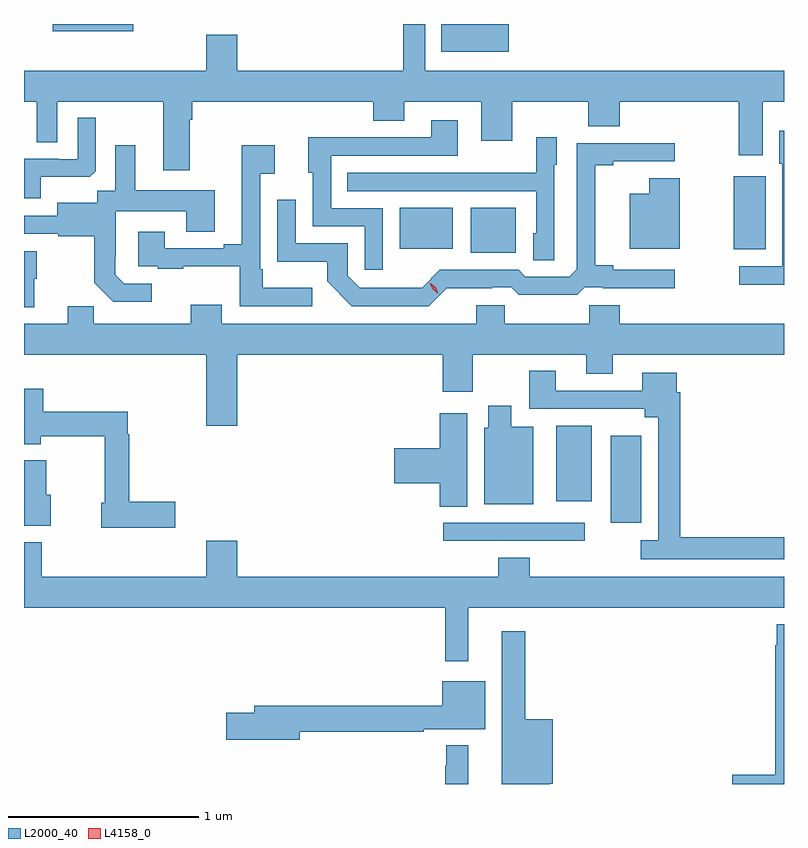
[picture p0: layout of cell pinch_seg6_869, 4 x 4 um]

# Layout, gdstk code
import gdstk
lib = gdstk.Library(unit=1e-6, precision=1e-09)
def R(c, l, rs):  # rectangles x0, y0, x1, y1
    for r in rs: c.add(gdstk.rectangle(r[:2], r[2:], *l))
def P(c, l, *ps):  # polygons
    for p in ps: c.add(gdstk.Polygon(p, *l))
L2000_40 = (2000, 40)
L4158_0 = (4158, 0)

pinch_seg6_869 = lib.new_cell('pinch_seg6_869')
R(pinch_seg6_869, L2000_40, [(226.197,939.696,226.942,939.792), (227.078,939.791,227.239,940.249), (226.79,939.905,226.978,940.303), (226.34,941.213,226.579,941.449), (227.726,941.231,227.893,941.617), (225.968,941.234,226.246,941.449), (226.186,942.272,226.54,942.417), (224.14,942.38,224.566,942.417)])
P(pinch_seg6_869, L2000_40, [(224.863,941.912),(224.876,941.912),(224.876,942.008),(225.827,942.008),(225.827,941.909),(225.991,941.909),(225.991,942.008),(226.397,942.008),(226.397,941.802),(226.561,941.802),(226.561,942.008),(226.961,942.008),(226.961,941.88),(227.125,941.88),(227.125,942.008),(227.753,942.008),(227.753,941.727),(227.878,941.727),(227.878,942.008),(227.99,942.008),(227.99,942.172),(226.101,942.172),(226.101,942.417),(225.985,942.417),(225.985,942.172),(225.112,942.172),(225.112,942.361),(224.948,942.361),(224.948,942.172),(223.99,942.172),(223.99,942.008),(224.058,942.008),(224.058,941.794),(224.166,941.794),(224.166,942.008),(224.723,942.008),(224.723,941.646),(224.863,941.646)],
  [(224.077,941.612),(224.335,941.612),(224.367,941.643),(224.367,941.923),(224.274,941.923),(224.274,941.706),(224.174,941.706),(224.174,941.709),(223.99,941.709),(223.99,941.499),(224.077,941.499)],
  [(225.879,941.448),(225.606,941.448),(225.606,941.724),(226.273,941.724),(226.273,941.911),(226.133,941.911),(226.133,941.82),(225.703,941.82),(225.703,941.822),(225.485,941.822),(225.485,941.634),(225.51,941.634),(225.51,941.352),(225.783,941.352),(225.783,941.124),(225.879,941.124)],
  [(227.99,941.854),(227.966,941.854),(227.966,941.682),(227.982,941.682),(227.982,941.142),(227.754,941.142),(227.754,941.045),(227.99,941.045)],
  [(226.782,941.676),(226.795,941.676),(226.795,941.821),(226.686,941.821),(226.686,941.635),(226.369,941.635),(226.369,941.634),(225.691,941.634),(225.691,941.538),(226.686,941.538),(226.686,941.316),(226.67,941.316),(226.67,941.173),(226.782,941.173)],
  [(226.214,941.027),(226.454,941.027),(226.454,941.031),(226.554,941.031),(226.594,940.992),(226.901,940.992),(226.941,941.031),(227.035,941.031),(227.035,941.027),(227.416,941.027),(227.416,941.124),(227.092,941.124),(227.092,941.147),(226.997,941.147),(226.997,941.674),(227.092,941.674),(227.092,941.694),(227.416,941.694),(227.416,941.79),(226.899,941.79),(226.899,941.127),(226.86,941.088),(226.629,941.088),(226.593,941.124),(226.179,941.124),(226.085,941.03),(225.98,941.03),(225.98,941.028),(225.756,941.028),(225.693,941.091),(225.693,941.262),(225.42,941.262),(225.42,941.491),(225.324,941.491),(225.324,941.165),(225.586,941.165),(225.586,941.063),(225.716,940.932),(226.119,940.932)],
  [(225.508,941.029),(225.247,941.029),(225.247,941.125),(225.234,941.125),(225.234,941.63),(225.31,941.63),(225.31,941.779),(225.137,941.779),(225.137,941.257),(225.041,941.257),(225.041,941.238),(224.731,941.238),(224.731,941.323),(224.591,941.323),(224.591,941.142),(224.695,941.142),(224.695,941.13),(224.827,941.13),(224.827,941.141),(225.126,941.141),(225.126,940.932),(225.508,940.932)],
  [(224.662,941.049),(224.517,941.049),(224.47,941.096),(224.47,941.191),(224.472,941.191),(224.472,941.432),(224.843,941.432),(224.843,941.323),(224.995,941.323),(224.995,941.542),(224.575,941.542),(224.575,941.779),(224.471,941.779),(224.471,941.54),(224.376,941.54),(224.376,941.476),(224.165,941.476),(224.165,941.409),(223.99,941.409),(223.99,941.313),(224.169,941.313),(224.169,941.301),(224.361,941.301),(224.361,941.055),(224.461,940.955),(224.662,940.955)],
  [(227.44,941.605),(227.282,941.605),(227.282,941.524),(227.177,941.524),(227.177,941.234),(227.44,941.234)],
  [(224.044,941.076),(224.056,941.076),(224.056,941.22),(223.99,941.22),(223.99,940.925),(224.044,940.925)],
  [(225.112,940.676),(226.193,940.676),(226.193,940.482),(226.353,940.482),(226.353,940.676),(226.949,940.676),(226.949,940.577),(227.089,940.577),(227.089,940.676),(227.99,940.676),(227.99,940.84),(227.126,940.84),(227.126,940.938),(226.966,940.938),(226.966,940.84),(226.521,940.84),(226.521,940.938),(226.37,940.938),(226.37,940.84),(225.031,940.84),(225.031,940.939),(224.867,940.939),(224.867,940.84),(224.357,940.84),(224.357,940.931),(224.219,940.931),(224.219,940.84),(223.99,940.84),(223.99,940.676),(224.948,940.676),(224.948,940.302),(225.112,940.302)],
  [(227.99,939.716),(227.444,939.716),(227.444,940.478),(227.425,940.478),(227.425,940.582),(227.243,940.582),(227.243,940.488),(226.789,940.488),(226.789,940.591),(226.649,940.591),(226.649,940.392),(227.258,940.392),(227.258,940.346),(227.328,940.346),(227.328,939.7),(227.235,939.7),(227.235,939.6),(227.99,939.6)],
  [(224.785,939.902),(224.543,939.902),(224.543,940.259),(224.536,940.259),(224.536,940.375),(224.09,940.375),(224.09,940.498),(223.99,940.498),(223.99,940.206),(224.077,940.206),(224.077,940.246),(224.415,940.246),(224.415,939.897),(224.396,939.897),(224.396,939.767),(224.785,939.767)],
  [(226.669,940.297),(226.555,940.297),(226.555,940.408),(226.433,940.408),(226.433,940.293),(226.412,940.293),(226.412,939.89),(226.669,939.89)],
  [(226.324,940.369),(226.178,940.369),(226.178,940.184),(225.939,940.184),(225.939,940.001),(226.178,940.001),(226.178,939.877),(226.324,939.877)],
  [(224.131,939.939),(224.106,939.939),(224.106,940.121),(223.99,940.121),(223.99,939.776),(224.131,939.776)],
  [(226.327,939.344),(227.99,939.344),(227.99,939.508),(226.652,939.508),(226.652,939.607),(226.487,939.607),(226.487,939.508),(225.112,939.508),(225.112,939.697),(224.948,939.697),(224.948,939.508),(224.084,939.508),(224.084,939.69),(223.99,939.69),(223.99,939.344),(226.206,939.344),(226.206,939.063),(226.327,939.063)],
  [(227.99,939.259),(227.951,939.259),(227.951,939.146),(227.944,939.146),(227.944,938.465),(227.718,938.465),(227.718,938.417),(227.99,938.417)],
  [(226.756,938.418),(226.774,938.418),(226.774,938.758),(226.627,938.758),(226.627,939.22),(226.505,939.22),(226.505,938.417),(226.756,938.417)],
  [(225.442,938.692),(226.094,938.692),(226.094,938.705),(226.417,938.705),(226.417,938.959),(226.19,938.959),(226.19,938.828),(225.203,938.828),(225.203,938.792),(225.054,938.792),(225.054,938.65),(225.442,938.65)],
  [(226.327,938.62),(226.212,938.62),(226.212,938.513),(226.206,938.513),(226.206,938.417),(226.327,938.417)])
P(pinch_seg6_869, L4158_0, [(226.171,940.998),(226.141,941.02),(226.125,941.054),(226.125,941.054),(226.126,941.054),(226.156,941.032),(226.171,940.998),(226.171,940.998)])

lib.write_gds('pinch_seg6_869.gds')
